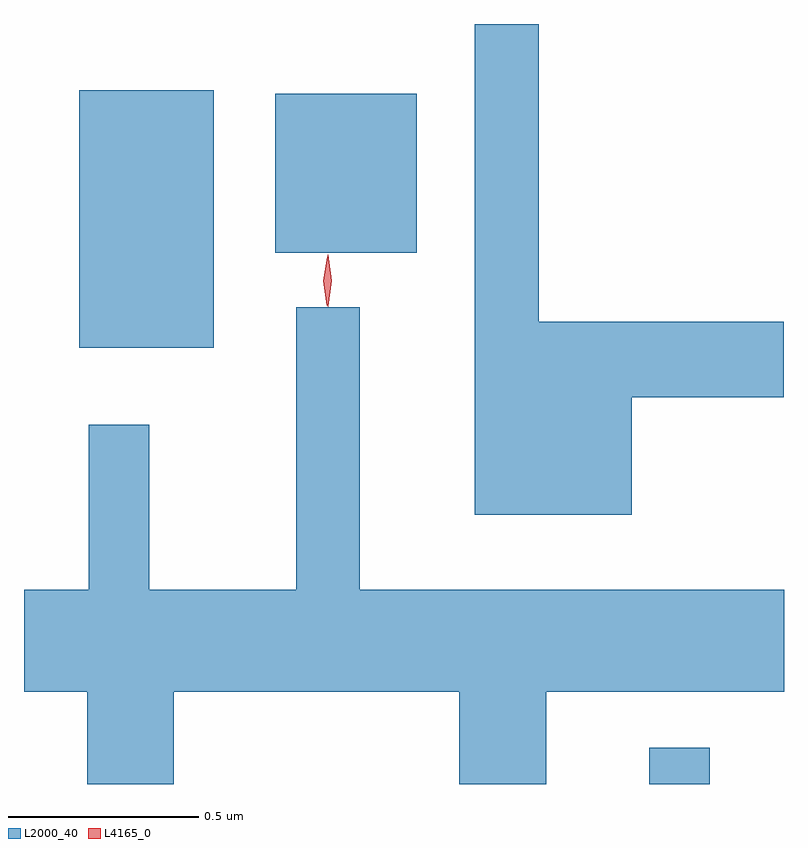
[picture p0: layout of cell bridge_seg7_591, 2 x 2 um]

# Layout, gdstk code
import gdstk
lib = gdstk.Library(unit=1e-6, precision=1e-09)
def R(c, l, rs):  # rectangles x0, y0, x1, y1
    for r in rs: c.add(gdstk.rectangle(r[:2], r[2:], *l))
def P(c, l, *ps):  # polygons
    for p in ps: c.add(gdstk.Polygon(p, *l))
L2000_40 = (2000, 40)
L4165_0 = (4165, 0)

bridge_seg7_591 = lib.new_cell('bridge_seg7_591')
R(bridge_seg7_591, L2000_40, [(983.291,1745.153,983.449,1745.248), (981.791,1746.301,982.144,1746.979), (982.306,1746.551,982.679,1746.969)])
P(bridge_seg7_591, L2000_40, [(983.244,1746.171),(983.644,1746.171),(983.644,1746.369),(982.999,1746.369),(982.999,1747.153),(982.831,1747.153),(982.831,1745.861),(983.244,1745.861)],
  [(982.039,1745.396),(982.791,1745.396),(982.791,1745.153),(983.019,1745.153),(983.019,1745.396),(983.645,1745.396),(983.645,1745.664),(982.529,1745.664),(982.529,1746.408),(982.361,1746.408),(982.361,1745.664),(981.974,1745.664),(981.974,1746.098),(981.816,1746.098),(981.816,1745.664),(981.645,1745.664),(981.645,1745.396),(981.811,1745.396),(981.811,1745.153),(982.039,1745.153)])
P(bridge_seg7_591, L4165_0, [(982.445,1746.409),(982.444,1746.41),(982.435,1746.478),(982.444,1746.546),(982.445,1746.546),(982.445,1746.546),(982.455,1746.478),(982.445,1746.41)],
  [(982.442,1746.413),(982.442,1746.413),(982.433,1746.477),(982.443,1746.541),(982.444,1746.542),(982.444,1746.541),(982.453,1746.477),(982.443,1746.413)])

lib.write_gds('bridge_seg7_591.gds')
